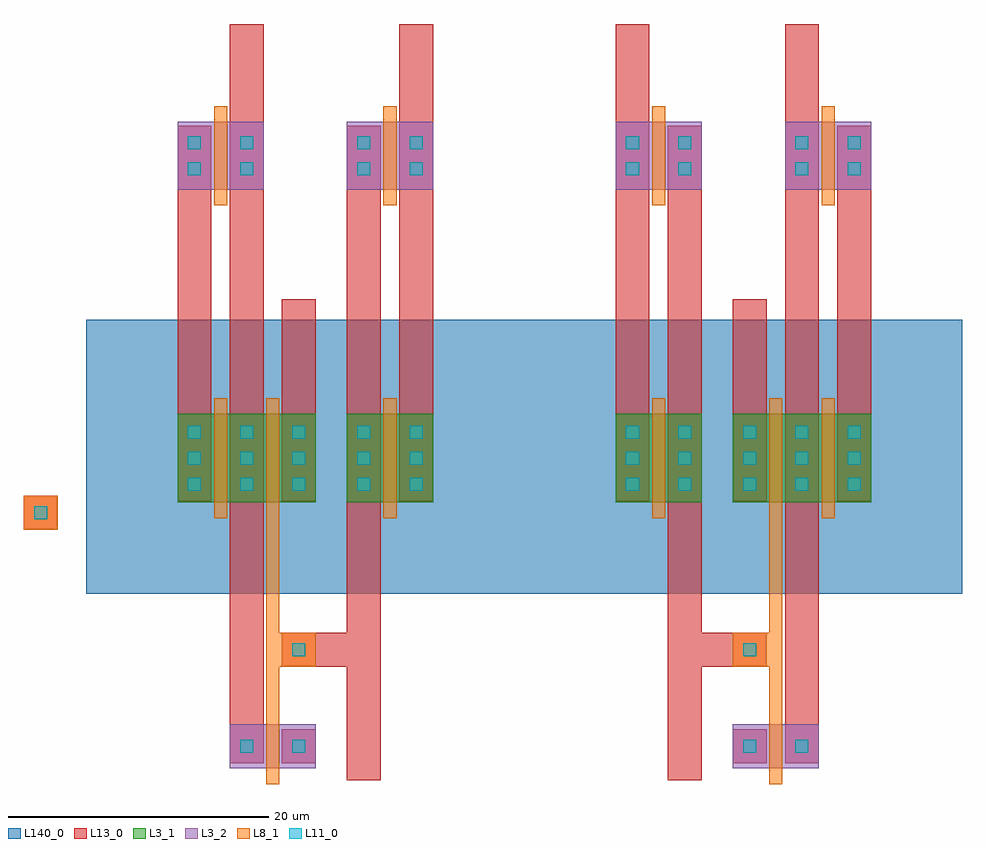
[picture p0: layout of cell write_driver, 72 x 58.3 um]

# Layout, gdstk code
from math import pi, radians
import gdstk
lib = gdstk.Library(unit=1e-6, precision=1e-07)
def R(c, l, rs):  # rectangles x0, y0, x1, y1
    for r in rs: c.add(gdstk.rectangle(r[:2], r[2:], *l))
def A(c, l, x, y, w, h, nx, ny, dx, dy):  # array of equal rectangles
    R(c, l, [(x+i*dx, y+j*dy, x+i*dx+w, y+j*dy+h) for i in range(nx) for j in range(ny)])
L3_1 = (3, 1)
L3_2 = (3, 2)
L8_1 = (8, 1)
L11_0 = (11, 0)
L13_0 = (13, 0)
L140_0 = (140, 0)

fet_n = lib.new_cell('fet_n')
R(fet_n, L3_2, [(-3.3,-2.6,3.3,2.6)])
R(fet_n, L11_0, [(-2.5,-1.5,-1.5,-0.5), (1.5,-1.5,2.5,-0.5), (-2.5,0.5,-1.5,1.5), (1.5,0.5,2.5,1.5)])
R(fet_n, L13_0, [(-3.3,-2.3,-0.7,2.3), (0.7,-2.3,3.3,2.3)])
fet_n.add(gdstk.FlexPath([(0,-3.8),(0,3.8)], 1, ends="flush", simple_path=True, layer=8, datatype=1))  # L8_1

fet_p = lib.new_cell('fet_p')
R(fet_p, L3_1, [(-3.3,-3.4,3.3,3.4)])
A(fet_p, L11_0, -2.5, -2.5, 1, 1, 1, 3, 0, 2)
A(fet_p, L11_0, 1.5, -2.5, 1, 1, 1, 3, 0, 2)
R(fet_p, L13_0, [(-3.3,-3.3,-0.7,3.3), (0.7,-3.3,3.3,3.3)])
fet_p.add(gdstk.FlexPath([(0,-4.6),(0,4.6)], 1, ends="flush", simple_path=True, layer=8, datatype=1))  # L8_1

fet_n_1 = lib.new_cell('fet_n$1')
R(fet_n_1, L3_2, [(-3.3,-1.7,3.3,1.7)])
R(fet_n_1, L11_0, [(-2.5,-0.5,-1.5,0.5), (1.5,-0.5,2.5,0.5)])
R(fet_n_1, L13_0, [(-3.3,-1.3,-0.7,1.3), (0.7,-1.3,3.3,1.3)])
fet_n_1.add(gdstk.FlexPath([(0,-2.9),(0,2.9)], 1, ends="flush", simple_path=True, layer=8, datatype=1))  # L8_1

cont_g = lib.new_cell('cont_g')
R(cont_g, L8_1, [(-1.3,-1.3,1.3,1.3)])
R(cont_g, L11_0, [(-0.5,-0.5,0.5,0.5)])
R(cont_g, L13_0, [(-1.3,-1.3,1.3,1.3)])

write_driver = lib.new_cell('write_driver')
R(write_driver, L8_1, [(-6.7,-20.4,-5.7,-5.8), (31.9,-20.4,32.9,-5.8), (-5.7,-17.2,-5.5,-14.6), (31.7,-17.2,31.9,-14.6)])
R(write_driver, L13_0, [(-0.5,-25.9,2.1,-4.5), (24.1,-25.9,26.7,-4.5), (-9.5,-22.1,-6.9,-4.5), (33.1,-22.1,35.7,-4.5), (-2.9,-17.2,-0.5,-14.6), (26.7,-17.2,29.1,-14.6), (-13.5,2.1,-10.9,19.7), (-9.5,2.1,-6.9,32.1), (-5.5,2.1,-2.9,11), (-0.5,2.1,2.1,19.7), (3.5,2.1,6.1,19.7), (20.1,2.1,22.7,19.7), (24.1,2.1,26.7,19.7), (29.1,2.1,31.7,11), (33.1,2.1,35.7,32.1), (37.1,2.1,39.7,19.7), (3.5,24.3,6.1,32.1), (20.1,24.3,22.7,32.1)])
R(write_driver, L140_0, [(-20.5,-11.6,13.1,9.4), (13.1,-11.6,46.7,9.4)])
write_driver.add(gdstk.Reference(fet_n, (-10.2,22), rotation=pi, x_reflection=True))
write_driver.add(gdstk.Reference(fet_p, (-10.2,-1.2), rotation=pi, x_reflection=True))
write_driver.add(gdstk.Reference(fet_p, (2.8,-1.2), rotation=pi, x_reflection=True))
write_driver.add(gdstk.Reference(fet_n, (2.8,22), rotation=pi, x_reflection=True))
write_driver.add(gdstk.Reference(fet_n, (36.4,22)))
write_driver.add(gdstk.Reference(fet_p, (36.4,-1.2)))
write_driver.add(gdstk.Reference(fet_p, (23.4,-1.2)))
write_driver.add(gdstk.Reference(fet_n, (23.4,22)))
write_driver.add(gdstk.Reference(fet_p, (-6.2,-1.2), x_reflection=True))
write_driver.add(gdstk.Reference(fet_n_1, (-6.2,-23.3), x_reflection=True))
write_driver.add(gdstk.Reference(fet_p, (32.4,-1.2), rotation=pi))
write_driver.add(gdstk.Reference(cont_g, (-4.2,-15.9), x_reflection=True))
write_driver.add(gdstk.Reference(fet_n_1, (32.4,-23.3), rotation=pi))
write_driver.add(gdstk.Reference(cont_g, (30.4,-15.9), rotation=pi))
write_driver.add(gdstk.Reference(cont_g, (-24,-5.4), x_reflection=True))

lib.write_gds('write_driver.gds')
